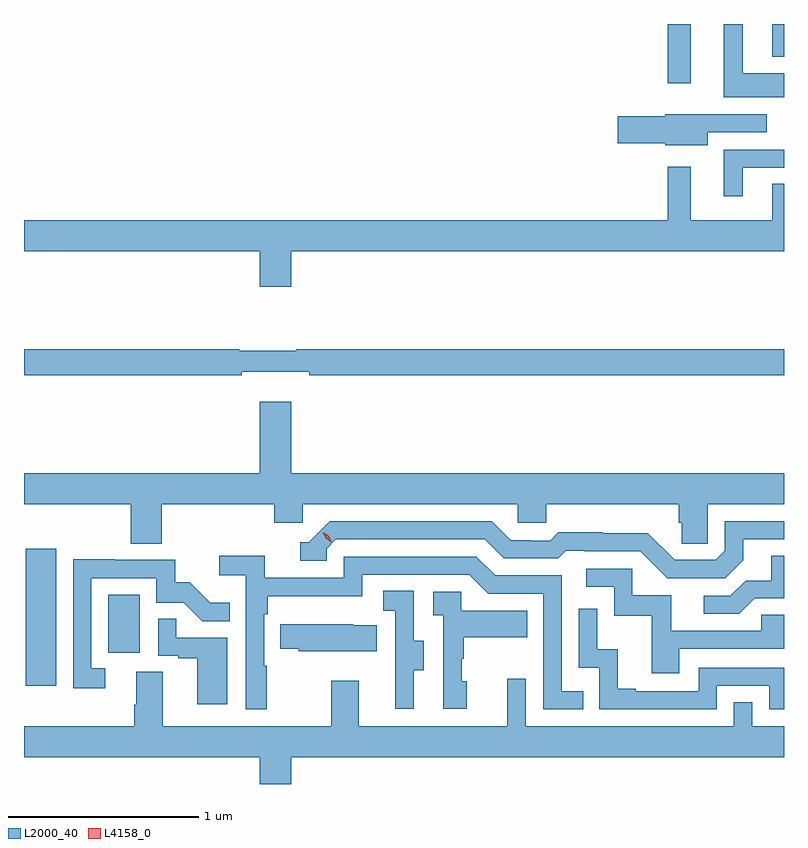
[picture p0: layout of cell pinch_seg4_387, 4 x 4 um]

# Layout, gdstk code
import gdstk
lib = gdstk.Library(unit=1e-6, precision=1e-09)
def R(c, l, rs):  # rectangles x0, y0, x1, y1
    for r in rs: c.add(gdstk.rectangle(r[:2], r[2:], *l))
def P(c, l, *ps):  # polygons
    for p in ps: c.add(gdstk.Polygon(p, *l))
L2000_40 = (2000, 40)
L4158_0 = (4158, 0)

pinch_seg4_387 = lib.new_cell('pinch_seg4_387')
R(pinch_seg4_387, L2000_40, [(954.983,787.872,955.144,788.593), (955.418,788.046,955.582,788.353), (958.362,791.043,958.483,791.356), (958.913,791.183,958.974,791.356)])
P(pinch_seg4_387, L2000_40, [(958.974,791.098),(958.756,791.098),(958.756,791.356),(958.658,791.356),(958.658,790.97),(958.974,790.97)],
  [(958.573,790.785),(958.882,790.785),(958.882,790.881),(958.569,790.881),(958.569,790.882),(958.35,790.882),(958.35,790.871),(958.098,790.871),(958.098,790.729),(958.35,790.729),(958.35,790.718),(958.573,790.718)],
  [(958.756,790.599),(958.974,790.599),(958.974,790.695),(958.658,790.695),(958.658,790.449),(958.756,790.449)],
  [(956.38,790.16),(958.974,790.16),(958.974,790.514),(958.913,790.514),(958.913,790.324),(958.483,790.324),(958.483,790.606),(958.362,790.606),(958.362,790.324),(954.974,790.324),(954.974,790.16),(956.216,790.16),(956.216,789.972),(956.38,789.972)],
  [(956.12,789.527),(956.476,789.527),(956.476,789.508),(958.974,789.508),(958.974,789.644),(956.408,789.644),(956.408,789.637),(956.108,789.637),(956.108,789.644),(954.974,789.644),(954.974,789.508),(956.12,789.508)],
  [(955.7,788.828),(956.291,788.828),(956.291,788.73),(956.442,788.73),(956.442,788.828),(957.573,788.828),(957.573,788.73),(957.723,788.73),(957.723,788.828),(958.421,788.828),(958.421,788.73),(958.435,788.73),(958.435,788.62),(958.572,788.62),(958.572,788.828),(958.974,788.828),(958.974,788.992),(956.38,788.992),(956.38,789.367),(956.216,789.367),(956.216,788.992),(954.974,788.992),(954.974,788.828),(955.535,788.828),(955.535,788.62),(955.7,788.62)],
  [(958.759,788.533),(958.759,788.643),(958.974,788.643),(958.974,788.739),(958.662,788.739),(958.662,788.583),(958.614,788.535),(958.398,788.535),(958.256,788.677),(958.02,788.677),(958.02,788.68),(957.787,788.68),(957.745,788.637),(957.642,788.637),(957.642,788.64),(957.535,788.64),(957.436,788.739),(956.583,788.739),(956.472,788.628),(956.429,788.628),(956.429,788.532),(956.568,788.532),(956.568,788.595),(956.616,788.643),(957.399,788.643),(957.498,788.544),(957.787,788.544),(957.826,788.583),(957.925,788.583),(957.925,788.58),(958.218,788.58),(958.359,788.439),(958.665,788.439)],
  [(958.819,788.334),(958.974,788.334),(958.974,788.558),(958.907,788.558),(958.907,788.426),(958.772,788.426),(958.692,788.346),(958.551,788.346),(958.551,788.253),(958.738,788.253)],
  [(956.251,787.979),(956.238,787.979),(956.238,788.249),(956.258,788.249),(956.258,788.345),(956.754,788.345),(956.754,788.457),(957.318,788.457),(957.417,788.358),(957.708,788.358),(957.708,787.749),(957.917,787.749),(957.917,787.845),(957.804,787.845),(957.804,788.454),(957.454,788.454),(957.355,788.553),(956.658,788.553),(956.658,788.442),(956.24,788.442),(956.24,788.558),(956.001,788.558),(956.001,788.456),(956.142,788.456),(956.142,787.749),(956.251,787.749)],
  [(955.402,787.965),(955.329,787.965),(955.329,788.439),(955.671,788.439),(955.671,788.31),(955.815,788.31),(955.913,788.212),(956.057,788.212),(956.057,788.311),(955.953,788.311),(955.846,788.418),(955.77,788.418),(955.77,788.535),(955.451,788.535),(955.451,788.54),(955.233,788.54),(955.233,787.86),(955.402,787.86)],
  [(958.423,788.067),(958.974,788.067),(958.974,788.247),(958.855,788.247),(958.855,788.163),(958.381,788.163),(958.381,788.349),(958.176,788.349),(958.176,788.49),(957.933,788.49),(957.933,788.394),(958.08,788.394),(958.08,788.241),(958.279,788.241),(958.279,787.938),(958.423,787.938)],
  [(957.025,787.954),(957.079,787.954),(957.079,788.109),(957.024,788.109),(957.024,788.372),(956.865,788.372),(956.865,788.269),(956.928,788.269),(956.928,787.965),(956.927,787.965),(956.927,787.752),(957.025,787.752)],
  [(957.304,787.896),(957.279,787.896),(957.279,788.015),(957.289,788.015),(957.289,788.129),(957.623,788.129),(957.623,788.269),(957.276,788.269),(957.276,788.367),(957.129,788.367),(957.129,788.243),(957.18,788.243),(957.18,787.752),(957.304,787.752)],
  [(958.62,787.872),(958.896,787.872),(958.896,787.749),(958.974,787.749),(958.974,787.968),(958.524,787.968),(958.524,787.845),(958.195,787.845),(958.195,787.858),(958.1,787.858),(958.1,788.066),(957.99,788.066),(957.99,788.278),(957.894,788.278),(957.894,787.968),(958.002,787.968),(958.002,787.749),(958.62,787.749)],
  [(956.044,788.127),(955.775,788.127),(955.775,788.225),(955.68,788.225),(955.68,788.031),(955.787,788.031),(955.787,788.019),(955.886,788.019),(955.886,787.776),(956.044,787.776)],
  [(956.831,788.191),(956.706,788.191),(956.706,788.197),(956.323,788.197),(956.323,788.068),(956.421,788.068),(956.421,788.054),(956.831,788.054)],
  [(956.38,787.496),(958.974,787.496),(958.974,787.66),(958.806,787.66),(958.806,787.787),(958.71,787.787),(958.71,787.66),(957.615,787.66),(957.615,787.909),(957.518,787.909),(957.518,787.66),(956.737,787.66),(956.737,787.9),(956.59,787.9),(956.59,787.66),(955.705,787.66),(955.705,787.946),(955.565,787.946),(955.565,787.772),(955.553,787.772),(955.553,787.66),(954.974,787.66),(954.974,787.496),(956.216,787.496),(956.216,787.356),(956.38,787.356)])
P(pinch_seg4_387, L4158_0, [(956.592,788.629),(956.562,788.649),(956.546,788.682),(956.546,788.682),(956.546,788.682),(956.577,788.662),(956.592,788.63),(956.592,788.629)])

lib.write_gds('pinch_seg4_387.gds')
